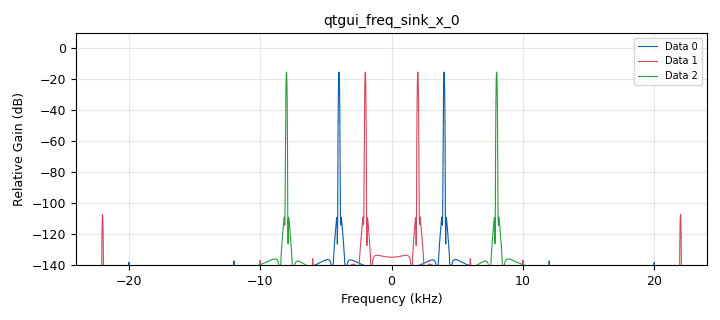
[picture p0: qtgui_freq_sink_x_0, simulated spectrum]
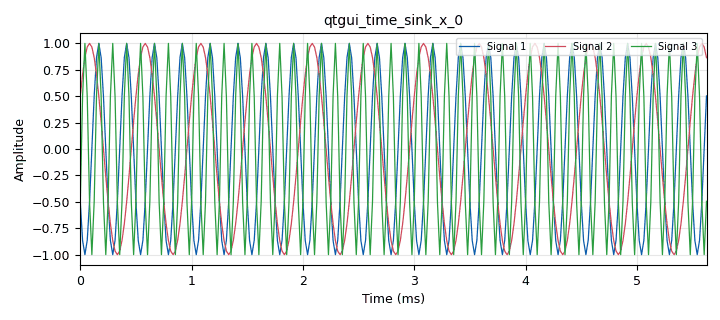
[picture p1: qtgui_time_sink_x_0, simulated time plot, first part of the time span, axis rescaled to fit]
options:
  parameters:
    author: Daniela_Cabrales_L1B_G4
    generate_options: qt_gui
    id: Practica_2
    output_language: python
    title: Muestreo_en_GNURADIO
  states: {}

blocks:
- name: freq
  id: variable_qtgui_range
  parameters:
    label: frequency
    start: '1000'
    step: '1000'
    stop: '40000'
    value: '4000'
  states: {}
- name: samp_rate
  id: variable
  parameters:
    value: '48000'
  states: {}
- name: analog_sig_source_x_0
  id: analog_sig_source_x
  parameters:
    amp: '1'
    freq: freq
    offset: '0'
    phase: '0'
    samp_rate: samp_rate
    type: float
    waveform: analog.GR_COS_WAVE
  states: {}
- name: analog_sig_source_x_0_0
  id: analog_sig_source_x
  parameters:
    amp: '1'
    freq: freq
    offset: '0'
    phase: '0'
    samp_rate: samp_rate
    type: float
    waveform: analog.GR_COS_WAVE
  states: {}
- name: analog_sig_source_x_0_0_0
  id: analog_sig_source_x
  parameters:
    amp: '1'
    freq: freq
    offset: '0'
    phase: '0'
    samp_rate: samp_rate
    type: float
    waveform: analog.GR_COS_WAVE
  states: {}
- name: blocks_throttle_0
  id: blocks_throttle
  parameters:
    samples_per_second: samp_rate
    type: float
  states: {}
- name: qtgui_freq_sink_x_0
  id: qtgui_freq_sink_x
  parameters:
    bw: samp_rate
    fc: '0'
    fftsize: '2048'
    nconnections: '3'
    type: float
  states: {}
- name: qtgui_time_sink_x_0
  id: qtgui_time_sink_x
  parameters:
    nconnections: '3'
    size: '500'
    srate: samp_rate
    type: float
  states: {}
- name: rational_resampler_xxx_0
  id: rational_resampler_xxx
  parameters:
    decim: '1'
    interp: '1'
    type: fff
  states: {}
- name: rational_resampler_xxx_0_0
  id: rational_resampler_xxx
  parameters:
    decim: '1'
    interp: '2'
    type: fff
  states: {}
- name: rational_resampler_xxx_0_0_0
  id: rational_resampler_xxx
  parameters:
    decim: '2'
    interp: '1'
    type: fff
  states: {}

connections:
- [analog_sig_source_x_0, '0', rational_resampler_xxx_0, '0']
- [analog_sig_source_x_0_0, '0', rational_resampler_xxx_0_0, '0']
- [analog_sig_source_x_0_0_0, '0', rational_resampler_xxx_0_0_0, '0']
- [blocks_throttle_0, '0', qtgui_freq_sink_x_0, '0']
- [blocks_throttle_0, '0', qtgui_time_sink_x_0, '0']
- [rational_resampler_xxx_0, '0', blocks_throttle_0, '0']
- [rational_resampler_xxx_0_0, '0', qtgui_freq_sink_x_0, '1']
- [rational_resampler_xxx_0_0, '0', qtgui_time_sink_x_0, '1']
- [rational_resampler_xxx_0_0_0, '0', qtgui_freq_sink_x_0, '2']
- [rational_resampler_xxx_0_0_0, '0', qtgui_time_sink_x_0, '2']

metadata:
  file_format: 1
